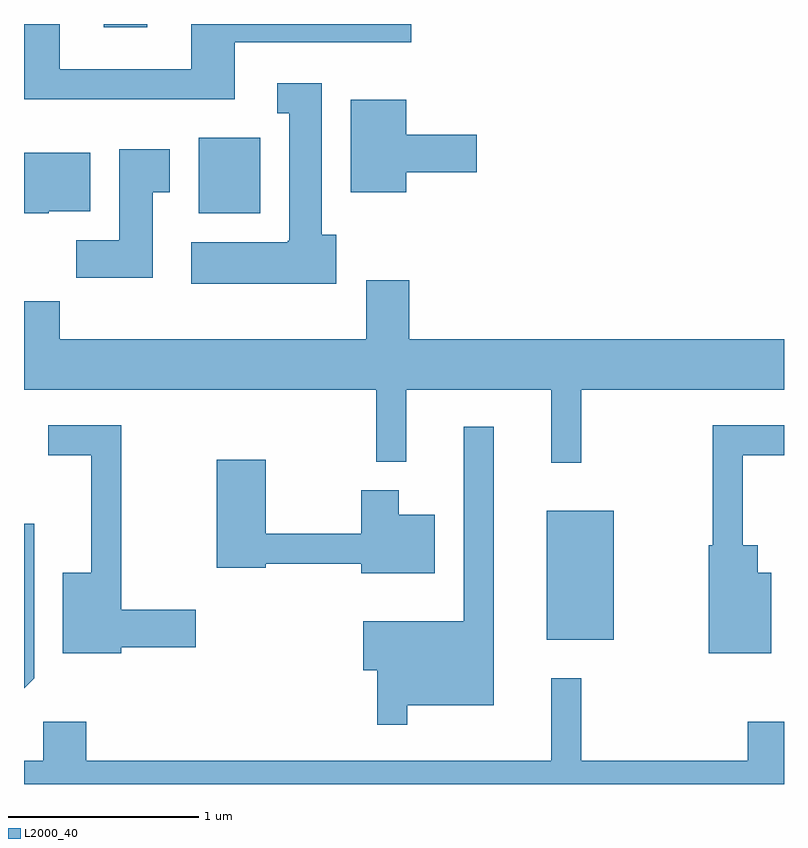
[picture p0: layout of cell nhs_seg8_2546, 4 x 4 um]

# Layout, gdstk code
import gdstk
lib = gdstk.Library(unit=1e-6, precision=1e-09)
def R(c, l, rs):  # rectangles x0, y0, x1, y1
    for r in rs: c.add(gdstk.rectangle(r[:2], r[2:], *l))
def P(c, l, *ps):  # polygons
    for p in ps: c.add(gdstk.Polygon(p, *l))
L2000_40 = (2000, 40)

nhs_seg8_2546 = lib.new_cell('nhs_seg8_2546')
R(nhs_seg8_2546, L2000_40, [(264.361,1835.101,264.714,1835.779), (262.531,1837.346,262.854,1837.744), (262.031,1838.326,262.259,1838.342)])
P(nhs_seg8_2546, L2000_40, [(262.719,1838.246),(263.648,1838.246),(263.648,1838.342),(262.491,1838.342),(262.491,1838.104),(261.799,1838.104),(261.799,1838.342),(261.611,1838.342),(261.611,1837.946),(262.719,1837.946)],
  [(263.254,1837.234),(263.179,1837.234),(263.179,1838.029),(262.943,1838.029),(262.943,1837.871),(263.006,1837.871),(263.006,1837.2),(263,1837.2),(263,1837.194),(262.491,1837.194),(262.491,1836.976),(263.254,1836.976)],
  [(263.624,1837.561),(263.994,1837.561),(263.994,1837.759),(263.624,1837.759),(263.624,1837.944),(263.331,1837.944),(263.331,1837.456),(263.624,1837.456)],
  [(262.289,1837.456),(262.379,1837.456),(262.379,1837.684),(262.111,1837.684),(262.111,1837.204),(261.886,1837.204),(261.886,1837.006),(262.289,1837.006)],
  [(261.74,1837.356),(261.959,1837.356),(261.959,1837.664),(261.611,1837.664),(261.611,1837.346),(261.74,1837.346)],
  [(264.544,1836.416),(265.611,1836.416),(265.611,1836.684),(263.639,1836.684),(263.639,1836.994),(263.411,1836.994),(263.411,1836.684),(261.799,1836.684),(261.799,1836.884),(261.611,1836.884),(261.611,1836.416),(263.466,1836.416),(263.466,1836.038),(263.624,1836.038),(263.624,1836.416),(264.386,1836.416),(264.386,1836.033),(264.544,1836.033)],
  [(265.544,1835.454),(265.474,1835.454),(265.474,1835.599),(265.394,1835.599),(265.394,1836.071),(265.611,1836.071),(265.611,1836.229),(265.236,1836.229),(265.236,1835.599),(265.216,1835.599),(265.216,1835.031),(265.544,1835.031)],
  [(262.124,1835.061),(262.514,1835.061),(262.514,1835.259),(262.124,1835.259),(262.124,1836.229),(261.738,1836.229),(261.738,1836.071),(261.966,1836.071),(261.966,1835.454),(261.816,1835.454),(261.816,1835.031),(262.124,1835.031)],
  [(263.629,1834.756),(264.084,1834.756),(264.084,1836.223),(263.926,1836.223),(263.926,1835.199),(263.396,1835.199),(263.396,1834.941),(263.471,1834.941),(263.471,1834.653),(263.629,1834.653)],
  [(263.774,1835.759),(263.584,1835.759),(263.584,1835.889),(263.386,1835.889),(263.386,1835.659),(262.884,1835.659),(262.884,1836.049),(262.626,1836.049),(262.626,1835.481),(262.884,1835.481),(262.884,1835.501),(263.386,1835.501),(263.386,1835.451),(263.774,1835.451)],
  [(261.664,1834.899),(261.664,1835.713),(261.611,1835.713),(261.611,1834.846)],
  [(265.611,1834.669),(265.421,1834.669),(265.421,1834.464),(264.544,1834.464),(264.544,1834.898),(264.386,1834.898),(264.386,1834.464),(261.939,1834.464),(261.939,1834.669),(261.711,1834.669),(261.711,1834.464),(261.611,1834.464),(261.611,1834.342),(265.611,1834.342)])

lib.write_gds('nhs_seg8_2546.gds')
